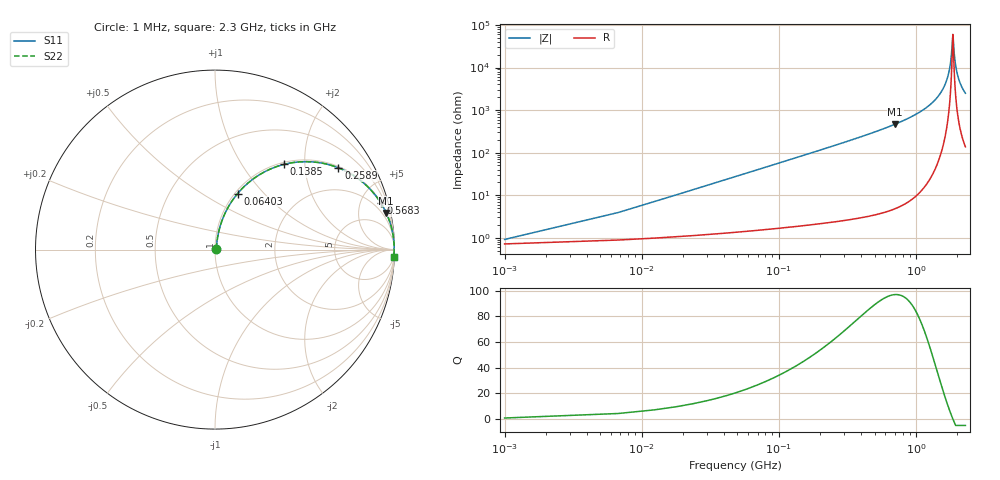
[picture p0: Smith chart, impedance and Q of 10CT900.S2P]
! Coilcraft 1008CT-900 Chip Inductor
! 17 July 2002
# MHZ S MA R 50
!Freq  MagS11  AngS11  MagS21  AngS21  MagS12  AngS12  MagS22  AngS22
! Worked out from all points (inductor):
!   403 points, 1 MHz to 2.3 GHz, reference 50 ohm
!   read as one part in series: L = 90 nH near 12.46 MHz
!   highest Q = 97 at 705.8 MHz (marker M1), where L = 105 nH
!   self-resonance near 1.863 GHz
!   S11 on the Smith chart (normalised r, x): 1 MHz: 1.01, +0.01; 64.03 MHz: 1.03, +0.73; 138.5 MHz: 1.04, +1.58; 258.9 MHz: 1.05, +2.99; 568.3 MHz: 1.08, +7.09; 2.3 GHz: 4, -50
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1  0.009051 38.0  0.9929 -0.3  0.9929 -0.3  0.009051 38.0
18.19  0.1018 78.3  0.9844 -5.8  0.9844 -5.8  0.1018 78.3
23.92  0.1331 77.6  0.9802 -7.6  0.9802 -7.6  0.1331 77.6
41.11  0.2242 73.9  0.9623 -12.9  0.9623 -12.9  0.2242 73.9
64.03  0.3368 68.0  0.9282 -19.7  0.9282 -19.7  0.3368 68.0
138.52  0.6119 50.9  0.7766 -37.7  0.7766 -37.7  0.6119 50.9
258.85  0.8248 33.5  0.5525 -55.6  0.5525 -55.6  0.8248 33.5
384.91  0.9111 23.6  0.4007 -65.7  0.4007 -65.7  0.9111 23.6
568.27  0.9597 15.7  0.2709 -73.7  0.2709 -73.7  0.9597 15.7
705.79  0.9757 12.1  0.2094 -77.3  0.2094 -77.3  0.9757 12.1
768.82  0.9804 10.8  0.1871 -78.6  0.1871 -78.6  0.9804 10.8
1152.73  0.9942 5.4  0.0942 -83.8  0.0942 -83.8  0.9942 5.4
1536.64  0.9979 2.1  0.03683 -85.7  0.03683 -85.7  0.9979 2.1
1662.7  0.9983 1.2  0.02176 -84.8  0.02176 -84.8  0.9983 1.2
1754.38  0.9984 0.7  0.01161 -81.6  0.01161 -81.6  0.9984 0.7
1805.95  0.9984 0.3  0.006223 -74.7  0.006223 -74.7  0.9984 0.3
1863.25  0.9983 0.0  0.001667 -3.3  0.001667 -3.3  0.9983 0.0
1874.71  0.9983 -0.1  0.001986 32.4  0.001986 32.4  0.9983 -0.1
1920.55  0.9983 -0.3  0.005898 72.7  0.005898 72.7  0.9983 -0.3
1972.12  0.9982 -0.6  0.01081 79.9  0.01081 79.9  0.9982 -0.6
2052.34  0.998 -1.0  0.01832 83.1  0.01832 83.1  0.998 -1.0
2300  0.997 -2.3  0.04008 84.5  0.04008 84.5  0.997 -2.3
